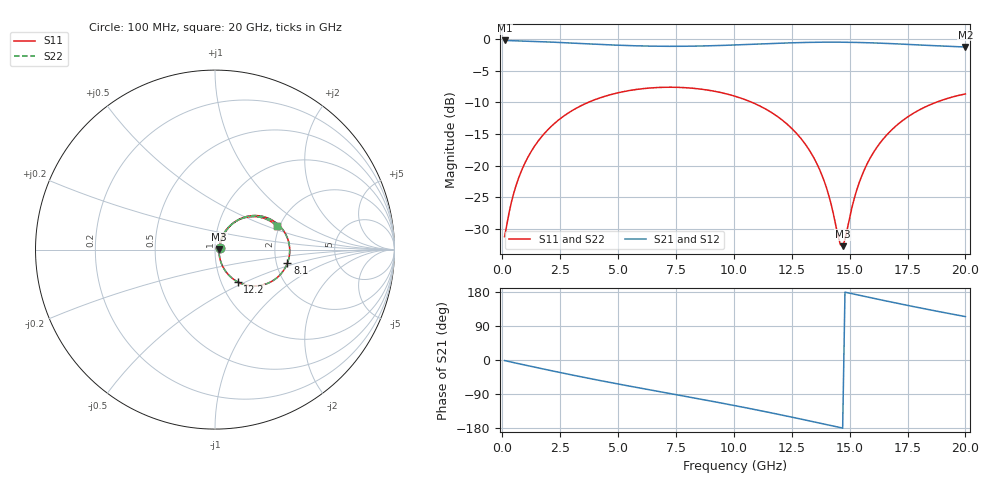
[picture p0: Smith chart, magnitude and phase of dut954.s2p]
! Touchstone file exported from HFSS 2026.1.0
!  File:  C:/ffzhzh/LocalFiles/Ansys_Project_Files/temp_train_TSV_RDL_954_1783283511_38820.aedt
!  Generated:  04:40:36 AM Jul  6, 2026
!  Design:  TSV_RDL
!  Project:  temp_train_TSV_RDL_954_1783283511_38820
! Variables:
!  h_bsmrdl = 3.46um
!  h_ox = 20um
!  h_rdl = 5um
!  h_sub = 60.02um
!  h_tmrdl = 2.75um
!  h_tsv = 60.02um
!  h_via = 3um
!  l_bsmrdl = 258.2um
!  l_sub = 4163.19um
!  l_tmrdl = 722.15um
!  m_sub = 200um
!  pitch = 37.08um
!  r_tsv = 10.45um
!  s_tmrdl = 10um
!  w_bsmrdl = 10.08um
!  w_sub = 500um
!  w_tmrdl = 23.25um
!  x_tsv_center1 = 733.775um
!  x_tsv_center2 = 1002.055um
!  x_tsv_center3 = 1747.455um
!  x_tsv_center4 = 2015.735um
!  x_tsv_center5 = 2761.135um
!  x_tsv_center6 = 3029.415um
# GHz S MA R 50.000000
! Terminal data exported
! Port[1] = TM_RDL1_1_T1
! Port[2] = TM_RDL5_1_T1
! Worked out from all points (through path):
!   200 points, 100 MHz to 20 GHz, reference 50 ohm
!   highest |S21| = -0.22 dB at 100 MHz (marker M1); lowest = -1.2 dB at 20 GHz (marker M2)
!   group delay of S21, straight-line fit = 33.8 ps
!   lowest |S11| = -32.7 dB at 14.7 GHz (marker M3), VSWR 1.05, Z = 52.4 + j0.22 ohm
!   |S11| at or under -10 dB: start of sweep to 3.715 GHz; 10.78 GHz to 18.73 GHz (7.949 GHz wide, 53.9 % of centre)
!   |S22| runs from -32.8 to -7.6 dB; largest |S21 - S12| = 1.6e-14
!   S11 on the Smith chart (normalised r, x): 100 MHz: 1.05, +0.02; 8.1 GHz: 2.30, -0.41; 12.2 GHz: 1.20, -0.45; 20 GHz: 1.93, +0.59
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0.1  0.02748 23.9  0.9751 -1.5  0.9751 -1.5  0.02748 23.9
! Gamma 0 0 0 0
! Port Impedance 50 0 50 0
0.4  0.05198 52.1  0.9712 -5.7  0.9712 -5.7  0.05198 52.1
0.6  0.07009 57.2  0.9683 -8.4  0.9683 -8.4  0.07009 57.2
1.2  0.125 59.3  0.9605 -16.3  0.9605 -16.3  0.125 59.3
2.2  0.2112 52.0  0.945 -29.3  0.945 -29.3  0.2112 52.0
3.5  0.3035 38.5  0.9204 -45.5  0.9204 -45.5  0.3035 38.5
5.1  0.3798 21.3  0.8928 -64.4  0.8928 -64.4  0.3798 21.3
6.8  0.4148 3.2  0.8775 -83.6  0.8775 -83.6  0.4148 3.2
8.1  0.4105 -10.5  0.8785 -98.1  0.8785 -98.1  0.4105 -10.5
10.1  0.3512 -32.0  0.8989 -121.0  0.8989 -121.0  0.3512 -32.0
11.2  0.2911 -44.1  0.9158 -134.3  0.9158 -134.3  0.2911 -44.1
12.2  0.2205 -54.7  0.9305 -146.9  0.9305 -146.9  0.2205 -54.8
13.4  0.1201 -64.8  0.9428 -162.5  0.9428 -162.5  0.1201 -64.9
14  0.0668 -63.4  0.9453 -170.4  0.9453 -170.4  0.06672 -63.6
14.6  0.02374 -16.7  0.9449 -178.3  0.9449 -178.3  0.02352 -16.8
14.7  0.02308 5.2  0.9445 -179.7  0.9445 -179.7  0.02286 5.3
15.2  0.0549 56.5  0.9415 173.7  0.9415 173.7  0.05481 56.7
15.5  0.08083 60.9  0.9388 169.7  0.9388 169.7  0.08077 61.0
16  0.1244 60.4  0.9329 163.2  0.9329 163.2  0.1243 60.5
16.7  0.1824 55.1  0.9223 154.2  0.9223 154.2  0.1824 55.2
18.1  0.2811 40.9  0.8968 136.8  0.8968 136.8  0.2811 41.0
20  0.3686 20.8  0.866 114.5  0.866 114.5  0.3686 20.8
